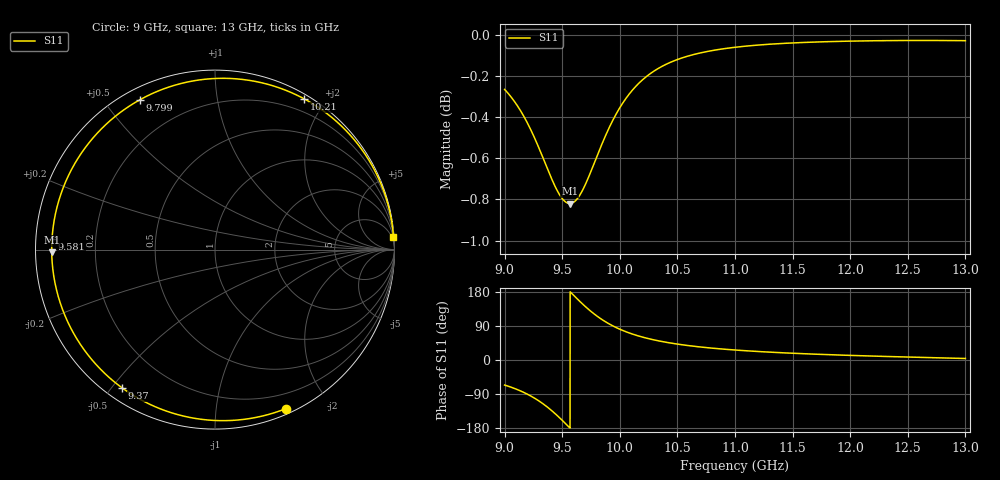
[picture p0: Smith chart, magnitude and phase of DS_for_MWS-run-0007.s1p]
! TOUCHSTONE file generated by CST DESIGN STUDIO
! Date and time: Wed Feb  5 13:42:23 2025
! Project name: C:\Work\MatlabApps\UnitCellOptimizationMatlab\CST\unitcell.cst
! Tree item: Tasks\Sweep1\SPara1\S-Parameters
! Header version: 2024
! Port assignment regex: !\s*Touchstone port\s*([0-9]+)\s*=\s*(CST MWS port|CST DES external port|CST DES block port)\s*(.+)\s* \(\"(.*)\"\)(\s*mode\s*([0-9]+))?.*
! Touchstone port assignment:
! Touchstone port 1 = CST DES external port 1 ("")
# GHz S MA R 50
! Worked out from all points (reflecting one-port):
!   4001 points, 9 GHz to 13 GHz, reference 50 ohm
!   lowest |S11| = -0.8 dB at 9.566 GHz (marker M1), VSWR 21.21, Z = 2.36 - j0.386 ohm
!   phase of S11 starts at -66 deg and turns -290 deg over the sweep
!   S11 on the Smith chart (normalised r, x): 9 GHz: 0.05, -1.54; 9.37 GHz: 0.05, -0.53; 9.581 GHz: 0.05, +0.03; 9.799 GHz: 0.05, +0.62; 10.21 GHz: 0.05, +1.76; 13 GHz: 1, +29
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9  0.97 -66.1
9.042  0.967 -70.2
9.108  0.9614 -77.7
9.222  0.9489 -94.1
9.3  0.9384 -108.5
9.37  0.9281 -123.9
9.433  0.9194 -140.0
9.5  0.9125 -159.1
9.534  0.9105 -169.3
9.566  0.9099 -179.1
9.581  0.9101 176.3
9.636  0.9128 159.6
9.697  0.9192 142.1
9.748  0.9262 128.7
9.799  0.9339 116.5
9.842  0.9403 107.4
9.889  0.9469 98.5
10  0.9601 81.2
10.101  0.9689 69.3
10.211  0.9759 59.3
10.344  0.9818 50.1
10.5  0.9863 41.9
10.721  0.9903 33.6
11  0.9931 26.3
11.5  0.9955 17.8
12  0.9965 12.1
12.5  0.9969 7.8
13  0.9968 4.0
